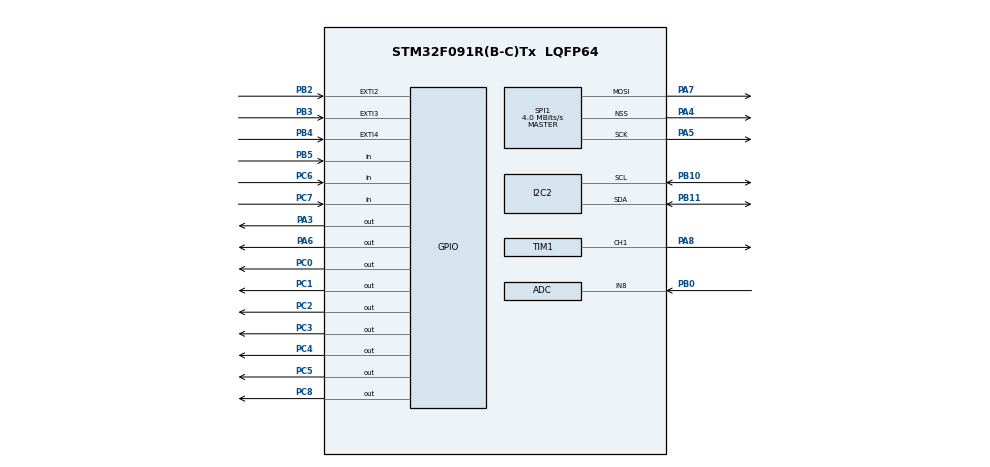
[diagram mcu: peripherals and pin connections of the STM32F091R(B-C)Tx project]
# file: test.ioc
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ADC.ContinuousConvMode=ENABLE
ADC.DMAContinuousRequests=ENABLE
ADC.SamplingTime=ADC_SAMPLETIME_1CYCLE_5
Dma.ADC.0.Direction=DMA_PERIPH_TO_MEMORY
Dma.ADC.0.Instance=DMA1_Channel1
Dma.ADC.0.MemDataAlignment=DMA_MDATAALIGN_HALFWORD
Dma.ADC.0.MemInc=DMA_MINC_ENABLE
Dma.ADC.0.Mode=DMA_CIRCULAR
Dma.ADC.0.PeriphDataAlignment=DMA_PDATAALIGN_HALFWORD
Dma.ADC.0.PeriphInc=DMA_PINC_DISABLE
Dma.ADC.0.Priority=DMA_PRIORITY_LOW
Dma.Request0=ADC
Mcu.Family=STM32F0
Mcu.Name=STM32F091R(B-C)Tx
Mcu.Package=LQFP64
NVIC.DMA1_Ch1_IRQn=true\:0\:0\:false\:false\:true\:false\:true
NVIC.EXTI2_3_IRQn=true\:0\:0\:false\:false\:true\:true\:true
NVIC.EXTI4_15_IRQn=true\:0\:0\:false\:false\:true\:true\:true
PA3.Signal=GPIO_Output
PA4.Mode=NSS_Signal_Hard_Output
PA4.Signal=SPI1_NSS
PA5.Mode=TX_Only_Simplex_Unidirect_Master
PA5.Signal=SPI1_SCK
PA6.Signal=GPIO_Output
PA7.Mode=TX_Only_Simplex_Unidirect_Master
PA7.Signal=SPI1_MOSI
PA8.Signal=S_TIM1_CH1
PB0.Signal=SharedAnalog_PB0
PB10.Mode=I2C
PB10.Signal=I2C2_SCL
PB11.Mode=I2C
PB11.Signal=I2C2_SDA
PB2.Signal=GPXTI2
PB3.Signal=GPXTI3
PB4.Signal=GPXTI4
PB5.Signal=GPIO_Input
PC0.Signal=GPIO_Output
PC1.Signal=GPIO_Output
PC2.Signal=GPIO_Output
PC3.Signal=GPIO_Output
PC4.Signal=GPIO_Output
PC5.Signal=GPIO_Output
PC6.Signal=GPIO_Input
PC7.Signal=GPIO_Input
PC8.Signal=GPIO_Output
ProjectManager.HeapSize=0x200
ProjectManager.StackSize=0x400
ProjectManager.TargetToolchain=STM32CubeIDE
SH.S_TIM1_CH1.0=TIM1_CH1,PWM Generation1 CH1
SH.SharedAnalog_PB0.0=GPIO_Analog
SH.SharedAnalog_PB0.1=ADC_IN8,IN8
SPI1.CalculateBaudRate=4.0 MBits/s
SPI1.Direction=SPI_DIRECTION_2LINES
SPI1.Mode=SPI_MODE_MASTER
SPI1.VirtualNSS=VM_NSSHARD
SPI1.VirtualType=VM_MASTER
TIM1.Channel-PWM\ Generation1\ CH1=TIM_CHANNEL_1
board=custom

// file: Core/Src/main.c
/* USER CODE BEGIN Header */
/**
  ******************************************************************************
  * @file           : main.c
  * @brief          : Main program body
  ******************************************************************************
  * @attention
  *
  * Copyright (c) 2022 STMicroelectronics.
  * All rights reserved.
  *
  * This software is licensed under terms that can be found in the LICENSE file
  * in the root directory of this software component.
  * If no LICENSE file comes with this software, it is provided AS-IS.
  *
  ******************************************************************************
  */
/* USER CODE END Header */
#include "main.h"

/* USER CODE BEGIN Includes */
#include "stm32f0xx.h"
#include "lcd.h"
#include "oled.h"
#include <stdio.h>
#include "menu.h"
/* USER CODE END Includes */

/* USER CODE BEGIN PD */
void menu_move(int selectIndex);
void Tune_move(int scrollidx, int selectIndex, int enable);
void Tunemode();
int Tune_select(int selectIndex);
void stepperMotor(int direction, int freq, int step, int mode);
void peg_move(int selectIndex);
/* USER CODE END PD */

ADC_HandleTypeDef hadc;
DMA_HandleTypeDef hdma_adc;

I2C_HandleTypeDef hi2c2;

SPI_HandleTypeDef hspi1;

TIM_HandleTypeDef htim1;

/* USER CODE BEGIN PV */
#define ADC_BUF_LEN 10
/*const char* menu[3] = {"Info", "Tune", "Manual"};
const char* Tune[7] = {"Back", "Peg1", "Peg2", "Peg3", "Peg4", "Peg5", "Peg6"};
const char* Manual[3] = {"Back", "Tight", "Loose"};
const char* Info[2] = {"Back", "Next"};
const char* peg[3] = {"Back", "Test1", "90"};
const char* pegsel[6] = {"Peg 1", "Peg 2", "Peg 3", "Peg 4", "Peg 5", "Peg 6"};
const char* note[6] = {"E", "A", "D", "G", "B", "E"};
int currentSelectIndex = 0;
int currentScrollIndex = 0;
//int goleft = 0;
int goright  =0;

//int thefall = 0;
uint32_t prev = 0;
uint32_t curr = 0;
uint32_t stepprev = 0;
uint32_t stepcurr = 0;
uint8_t lastPressed = -1;
uint8_t lastButton = -1;
uint8_t pressHistory[3] = {0,0,0};*/
uint16_t adc_buf[ADC_BUF_LEN];
/* USER CODE END PV */

void SystemClock_Config(void);
static void MX_GPIO_Init(void);
static void MX_ADC_Init(void);
static void MX_I2C2_Init(void);
static void MX_SPI1_Init(void);
static void MX_DMA_Init(void);
static void MX_TIM1_Init(void);
/* USER CODE BEGIN PFP */

void menu_select(int selectIndex);
uint8_t updateToggleHistory(uint8_t button);

/* USER CODE END PFP */

int main(void)
{

  /* MCU Configuration--------------------------------------------------------*/

  /* Reset of all peripherals, Initializes the Flash interface and the Systick. */
  HAL_Init();

  /* Configure the system clock */
  SystemClock_Config();

  /* Initialize all configured peripherals */
  MX_GPIO_Init();
  MX_ADC_Init();
  MX_I2C2_Init();
  MX_SPI1_Init();
  MX_DMA_Init();
  MX_TIM1_Init();
  /* USER CODE BEGIN 2 */

  LCD_Init();
  LCD_Clear(BLUE);
  for (int i = 0; i < 3; i++) {
	LCD_DrawString(75*i + 25,200,  YELLOW, BLUE, menu[i], 16, 0);
  }
  LCD_DrawString(25,200,  YELLOW, BLACK, menu[0], 16, 0);
  /* USER CODE END 2 */

  /* Infinite loop */
  /* USER CODE BEGIN WHILE */

  HAL_GPIO_WritePin(GPIOC, GPIO_PIN_0, GPIO_PIN_SET);//disable motor

  HAL_ADC_Start_DMA(&hadc, (uint32_t*)&adc_buf, ADC_BUF_LEN);
  while(1)
	{
	  HAL_Delay(100);
	  }

  menu_home();

}
    /* USER CODE END WHILE */

    /* USER CODE BEGIN 3 */
void startmotor()
{
	HAL_TIM_PWM_Start(&htim1, TIM_CHANNEL_1);
}
void stopmotor()
{
	HAL_TIM_PWM_Stop(&htim1, TIM_CHANNEL_1);
	HAL_GPIO_WritePin(GPIOC, GPIO_PIN_0, GPIO_PIN_SET);
}
void change_pwm(int per)
{
	TIM_MasterConfigTypeDef sMasterConfig = {0};
	  TIM_OC_InitTypeDef sConfigOC = {0};
	  TIM_BreakDeadTimeConfigTypeDef sBreakDeadTimeConfig = {0};

	  htim1.Instance = TIM1;
	  htim1.Init.Prescaler = 0;
	  htim1.Init.CounterMode = TIM_COUNTERMODE_UP;
	  htim1.Init.Period = per;
	  htim1.Init.ClockDivision = TIM_CLOCKDIVISION_DIV1;
	  htim1.Init.RepetitionCounter = 90;//0;
	  htim1.Init.AutoReloadPreload = TIM_AUTORELOAD_PRELOAD_DISABLE;
	  if (HAL_TIM_PWM_Init(&htim1) != HAL_OK)
	  {
	    Error_Handler();
	  }
	  sMasterConfig.MasterOutputTrigger = TIM_TRGO_RESET;
	  sMasterConfig.MasterSlaveMode = TIM_MASTERSLAVEMODE_DISABLE;
	  if (HAL_TIMEx_MasterConfigSynchronization(&htim1, &sMasterConfig) != HAL_OK)
	  {
	    Error_Handler();
	  }
	  sConfigOC.OCMode = TIM_OCMODE_PWM1;
	  sConfigOC.Pulse = per/2;
	  sConfigOC.OCPolarity = TIM_OCPOLARITY_HIGH;
	  sConfigOC.OCNPolarity = TIM_OCNPOLARITY_HIGH;
	  sConfigOC.OCFastMode = TIM_OCFAST_DISABLE;
	  sConfigOC.OCIdleState = TIM_OCIDLESTATE_RESET;
	  sConfigOC.OCNIdleState = TIM_OCNIDLESTATE_RESET;
	  if (HAL_TIM_PWM_ConfigChannel(&htim1, &sConfigOC, TIM_CHANNEL_1) != HAL_OK)
	  {
	    Error_Handler();
	  }
	  sBreakDeadTimeConfig.OffStateRunMode = TIM_OSSR_DISABLE;
	  sBreakDeadTimeConfig.OffStateIDLEMode = TIM_OSSI_DISABLE;
	  sBreakDeadTimeConfig.LockLevel = TIM_LOCKLEVEL_OFF;
	  sBreakDeadTimeConfig.DeadTime = 0;
	  sBreakDeadTimeConfig.BreakState = TIM_BREAK_DISABLE;
	  sBreakDeadTimeConfig.BreakPolarity = TIM_BREAKPOLARITY_HIGH;
	  sBreakDeadTimeConfig.AutomaticOutput = TIM_AUTOMATICOUTPUT_DISABLE;
	  if (HAL_TIMEx_ConfigBreakDeadTime(&htim1, &sBreakDeadTimeConfig) != HAL_OK)
	  {
	    Error_Handler();
	  }

	  HAL_TIM_MspPostInit(&htim1);
}

  /* USER CODE END 3 */

void SystemClock_Config(void)
{
  RCC_OscInitTypeDef RCC_OscInitStruct = {0};
  RCC_ClkInitTypeDef RCC_ClkInitStruct = {0};

  /** Initializes the RCC Oscillators according to the specified parameters
  * in the RCC_OscInitTypeDef structure.
  */
  RCC_OscInitStruct.OscillatorType = RCC_OSCILLATORTYPE_HSI|RCC_OSCILLATORTYPE_HSI14;
  RCC_OscInitStruct.HSIState = RCC_HSI_ON;
  RCC_OscInitStruct.HSI14State = RCC_HSI14_ON;
  RCC_OscInitStruct.HSICalibrationValue = RCC_HSICALIBRATION_DEFAULT;
  RCC_OscInitStruct.HSI14CalibrationValue = 16;
  RCC_OscInitStruct.PLL.PLLState = RCC_PLL_NONE;
  if (HAL_RCC_OscConfig(&RCC_OscInitStruct) != HAL_OK)
  {
    Error_Handler();
  }
  /** Initializes the CPU, AHB and APB buses clocks
  */
  RCC_ClkInitStruct.ClockType = RCC_CLOCKTYPE_HCLK|RCC_CLOCKTYPE_SYSCLK
                              |RCC_CLOCKTYPE_PCLK1;
  RCC_ClkInitStruct.SYSCLKSource = RCC_SYSCLKSOURCE_HSI;
  RCC_ClkInitStruct.AHBCLKDivider = RCC_SYSCLK_DIV1;
  RCC_ClkInitStruct.APB1CLKDivider = RCC_HCLK_DIV1;

  if (HAL_RCC_ClockConfig(&RCC_ClkInitStruct, FLASH_LATENCY_0) != HAL_OK)
  {
    Error_Handler();
  }
}

static void MX_ADC_Init(void)
{

  ADC_ChannelConfTypeDef sConfig = {0};

  /** Configure the global features of the ADC (Clock, Resolution, Data Alignment and number of conversion)
  */
  hadc.Instance = ADC1;
  hadc.Init.ClockPrescaler = ADC_CLOCK_ASYNC_DIV1;
  hadc.Init.Resolution = ADC_RESOLUTION_12B;
  hadc.Init.DataAlign = ADC_DATAALIGN_RIGHT;
  hadc.Init.ScanConvMode = ADC_SCAN_DIRECTION_FORWARD;
  hadc.Init.EOCSelection = ADC_EOC_SINGLE_CONV;
  hadc.Init.LowPowerAutoWait = DISABLE;
  hadc.Init.LowPowerAutoPowerOff = DISABLE;
  hadc.Init.ContinuousConvMode = ENABLE;
  hadc.Init.DiscontinuousConvMode = DISABLE;
  hadc.Init.ExternalTrigConv = ADC_SOFTWARE_START;
  hadc.Init.ExternalTrigConvEdge = ADC_EXTERNALTRIGCONVEDGE_NONE;
  hadc.Init.DMAContinuousRequests = ENABLE;
  hadc.Init.Overrun = ADC_OVR_DATA_PRESERVED;
  if (HAL_ADC_Init(&hadc) != HAL_OK)
  {
    Error_Handler();
  }
  /** Configure for the selected ADC regular channel to be converted.
  */
  sConfig.Channel = ADC_CHANNEL_8;
  sConfig.Rank = ADC_RANK_CHANNEL_NUMBER;
  sConfig.SamplingTime = ADC_SAMPLETIME_1CYCLE_5;
  if (HAL_ADC_ConfigChannel(&hadc, &sConfig) != HAL_OK)
  {
    Error_Handler();
  }

}

static void MX_I2C2_Init(void)
{

  hi2c2.Instance = I2C2;
  hi2c2.Init.Timing = 0x2000090E;
  hi2c2.Init.OwnAddress1 = 0;
  hi2c2.Init.AddressingMode = I2C_ADDRESSINGMODE_7BIT;
  hi2c2.Init.DualAddressMode = I2C_DUALADDRESS_DISABLE;
  hi2c2.Init.OwnAddress2 = 0;
  hi2c2.Init.OwnAddress2Masks = I2C_OA2_NOMASK;
  hi2c2.Init.GeneralCallMode = I2C_GENERALCALL_DISABLE;
  hi2c2.Init.NoStretchMode = I2C_NOSTRETCH_DISABLE;
  if (HAL_I2C_Init(&hi2c2) != HAL_OK)
  {
    Error_Handler();
  }
  /** Configure Analogue filter
  */
  if (HAL_I2CEx_ConfigAnalogFilter(&hi2c2, I2C_ANALOGFILTER_ENABLE) != HAL_OK)
  {
    Error_Handler();
  }
  /** Configure Digital filter
  */
  if (HAL_I2CEx_ConfigDigitalFilter(&hi2c2, 0) != HAL_OK)
  {
    Error_Handler();
  }

}

static void MX_SPI1_Init(void)
{

  /* SPI1 parameter configuration*/
  hspi1.Instance = SPI1;
  hspi1.Init.Mode = SPI_MODE_MASTER;
  hspi1.Init.Direction = SPI_DIRECTION_2LINES;
  hspi1.Init.DataSize = SPI_DATASIZE_4BIT;
  hspi1.Init.CLKPolarity = SPI_POLARITY_LOW;
  hspi1.Init.CLKPhase = SPI_PHASE_1EDGE;
  hspi1.Init.NSS = SPI_NSS_HARD_OUTPUT;
  hspi1.Init.BaudRatePrescaler = SPI_BAUDRATEPRESCALER_2;
  hspi1.Init.FirstBit = SPI_FIRSTBIT_MSB;
  hspi1.Init.TIMode = SPI_TIMODE_DISABLE;
  hspi1.Init.CRCCalculation = SPI_CRCCALCULATION_DISABLE;
  hspi1.Init.CRCPolynomial = 7;
  hspi1.Init.CRCLength = SPI_CRC_LENGTH_DATASIZE;
  hspi1.Init.NSSPMode = SPI_NSS_PULSE_ENABLE;
  if (HAL_SPI_Init(&hspi1) != HAL_OK)
  {
    Error_Handler();
  }
  /* USER CODE BEGIN SPI1_Init 2 */

  RCC->AHBENR |= RCC_AHBENR_GPIOAEN;
  GPIOA -> MODER &= ~GPIO_MODER_MODER4 & ~GPIO_MODER_MODER5 & ~GPIO_MODER_MODER7;
  GPIOA -> MODER |= GPIO_MODER_MODER4_1 | GPIO_MODER_MODER5_1 | GPIO_MODER_MODER7_1;
  GPIOA -> MODER &= ~GPIO_MODER_MODER2 & ~GPIO_MODER_MODER3;
  GPIOA -> MODER |= GPIO_MODER_MODER2_0 | GPIO_MODER_MODER3_0;
  GPIOA->AFR[0] &= ~GPIO_AFRL_AFRL4 & ~GPIO_AFRL_AFRL5 & ~GPIO_AFRL_AFRL7;

  RCC->APB2ENR |= RCC_APB2ENR_SPI1EN;
  SPI1->CR1 |= SPI_CR1_MSTR | SPI_CR1_BIDIMODE | SPI_CR1_BIDIOE;
  SPI1->CR1 &= ~SPI_CR1_BR;
  SPI1->CR2 = SPI_CR2_DS_2 | SPI_CR2_DS_1 | SPI_CR2_DS_0;
  SPI1->CR2 |= SPI_CR2_NSSP | SPI_CR2_SSOE;
  SPI1->CR1 |= SPI_CR1_SPE;

  /* USER CODE END SPI1_Init 2 */

}

static void MX_TIM1_Init(void)
{

  TIM_MasterConfigTypeDef sMasterConfig = {0};
  TIM_OC_InitTypeDef sConfigOC = {0};
  TIM_BreakDeadTimeConfigTypeDef sBreakDeadTimeConfig = {0};

  htim1.Instance = TIM1;
  htim1.Init.Prescaler = 0;
  htim1.Init.CounterMode = TIM_COUNTERMODE_UP;
  htim1.Init.Period = 65535;
  htim1.Init.ClockDivision = TIM_CLOCKDIVISION_DIV1;
  htim1.Init.RepetitionCounter = 0;
  htim1.Init.AutoReloadPreload = TIM_AUTORELOAD_PRELOAD_DISABLE;
  if (HAL_TIM_PWM_Init(&htim1) != HAL_OK)
  {
    Error_Handler();
  }
  sMasterConfig.MasterOutputTrigger = TIM_TRGO_RESET;
  sMasterConfig.MasterSlaveMode = TIM_MASTERSLAVEMODE_DISABLE;
  if (HAL_TIMEx_MasterConfigSynchronization(&htim1, &sMasterConfig) != HAL_OK)
  {
    Error_Handler();
  }
  sConfigOC.OCMode = TIM_OCMODE_PWM1;
  sConfigOC.Pulse = 0;
  sConfigOC.OCPolarity = TIM_OCPOLARITY_HIGH;
  sConfigOC.OCNPolarity = TIM_OCNPOLARITY_HIGH;
  sConfigOC.OCFastMode = TIM_OCFAST_DISABLE;
  sConfigOC.OCIdleState = TIM_OCIDLESTATE_RESET;
  sConfigOC.OCNIdleState = TIM_OCNIDLESTATE_RESET;
  if (HAL_TIM_PWM_ConfigChannel(&htim1, &sConfigOC, TIM_CHANNEL_1) != HAL_OK)
  {
    Error_Handler();
  }
  sBreakDeadTimeConfig.OffStateRunMode = TIM_OSSR_DISABLE;
  sBreakDeadTimeConfig.OffStateIDLEMode = TIM_OSSI_DISABLE;
  sBreakDeadTimeConfig.LockLevel = TIM_LOCKLEVEL_OFF;
  sBreakDeadTimeConfig.DeadTime = 0;
  sBreakDeadTimeConfig.BreakState = TIM_BREAK_DISABLE;
  sBreakDeadTimeConfig.BreakPolarity = TIM_BREAKPOLARITY_HIGH;
  sBreakDeadTimeConfig.AutomaticOutput = TIM_AUTOMATICOUTPUT_DISABLE;
  if (HAL_TIMEx_ConfigBreakDeadTime(&htim1, &sBreakDeadTimeConfig) != HAL_OK)
  {
    Error_Handler();
  }
  HAL_TIM_MspPostInit(&htim1);

}

static void MX_DMA_Init(void)
{

  /* DMA controller clock enable */
  __HAL_RCC_DMA1_CLK_ENABLE();

  /* DMA interrupt init */
  /* DMA1_Ch1_IRQn interrupt configuration */
  HAL_NVIC_SetPriority(DMA1_Ch1_IRQn, 0, 0);
  HAL_NVIC_EnableIRQ(DMA1_Ch1_IRQn);

}

static void MX_GPIO_Init(void)
{
  GPIO_InitTypeDef GPIO_InitStruct = {0};

  /* GPIO Ports Clock Enable */
  __HAL_RCC_GPIOC_CLK_ENABLE();
  __HAL_RCC_GPIOA_CLK_ENABLE();
  __HAL_RCC_GPIOB_CLK_ENABLE();

  /*Configure GPIO pin Output Level */
  HAL_GPIO_WritePin(GPIOC, GPIO_PIN_0|GPIO_PIN_1|GPIO_PIN_2|GPIO_PIN_3
                          |GPIO_PIN_4|GPIO_PIN_5|GPIO_PIN_8, GPIO_PIN_RESET);

  /*Configure GPIO pin Output Level */
  HAL_GPIO_WritePin(GPIOA, GPIO_PIN_3|GPIO_PIN_6, GPIO_PIN_RESET);

  /*Configure GPIO pins : PC0 PC1 PC2 PC3
                           PC4 PC5 PC8 */
  GPIO_InitStruct.Pin = GPIO_PIN_0|GPIO_PIN_1|GPIO_PIN_2|GPIO_PIN_3
                          |GPIO_PIN_4|GPIO_PIN_5|GPIO_PIN_8;
  GPIO_InitStruct.Mode = GPIO_MODE_OUTPUT_PP;
  GPIO_InitStruct.Pull = GPIO_NOPULL;
  GPIO_InitStruct.Speed = GPIO_SPEED_FREQ_LOW;
  HAL_GPIO_Init(GPIOC, &GPIO_InitStruct);

  /*Configure GPIO pins : PA3 PA6 */
  GPIO_InitStruct.Pin = GPIO_PIN_3|GPIO_PIN_6;
  GPIO_InitStruct.Mode = GPIO_MODE_OUTPUT_PP;
  GPIO_InitStruct.Pull = GPIO_NOPULL;
  GPIO_InitStruct.Speed = GPIO_SPEED_FREQ_LOW;
  HAL_GPIO_Init(GPIOA, &GPIO_InitStruct);

  /*Configure GPIO pins : PB2 PB3 PB4 */
  GPIO_InitStruct.Pin = GPIO_PIN_2|GPIO_PIN_3|GPIO_PIN_4;
  GPIO_InitStruct.Mode = GPIO_MODE_IT_RISING;
  GPIO_InitStruct.Pull = GPIO_NOPULL;
  HAL_GPIO_Init(GPIOB, &GPIO_InitStruct);

  /*Configure GPIO pins : PC6 PC7 */
  GPIO_InitStruct.Pin = GPIO_PIN_6|GPIO_PIN_7;
  GPIO_InitStruct.Mode = GPIO_MODE_INPUT;
  GPIO_InitStruct.Pull = GPIO_NOPULL;
  HAL_GPIO_Init(GPIOC, &GPIO_InitStruct);

  /*Configure GPIO pin : PB5 */
  GPIO_InitStruct.Pin = GPIO_PIN_5;
  GPIO_InitStruct.Mode = GPIO_MODE_INPUT;
  GPIO_InitStruct.Pull = GPIO_NOPULL;
  HAL_GPIO_Init(GPIOB, &GPIO_InitStruct);

  /* EXTI interrupt init*/
  HAL_NVIC_SetPriority(EXTI2_3_IRQn, 0, 0);
  HAL_NVIC_EnableIRQ(EXTI2_3_IRQn);

  HAL_NVIC_SetPriority(EXTI4_15_IRQn, 0, 0);
  HAL_NVIC_EnableIRQ(EXTI4_15_IRQn);

}

/* USER CODE BEGIN 4 */
void HAL_GPIO_EXTI_Callback(uint16_t GPIO_Pin)
{
	curr = HAL_GetTick();
	UNUSED(GPIO_Pin);
	if((GPIO_Pin == 4) && (curr - prev > 200))
		{goleft = 1;
		 prev = curr;
		}
	if((GPIO_Pin == 16) && (curr - prev > 200))
		{goright = 1;
		prev = curr;
		}
}

// Called when first half of buffer is filled
void HAL_ADC_ConvHalfCpltCallback(ADC_HandleTypeDef* hadc) {
	__NOP();
}

// Called when buffer is completely filled
void HAL_ADC_ConvCpltCallback(ADC_HandleTypeDef* hadc) {
  __NOP();

	HAL_ADC_Stop_DMA(hadc);
}

/* USER CODE END 4 */

void Error_Handler(void)
{
  __disable_irq();
  while (1)
  {
  }
}
